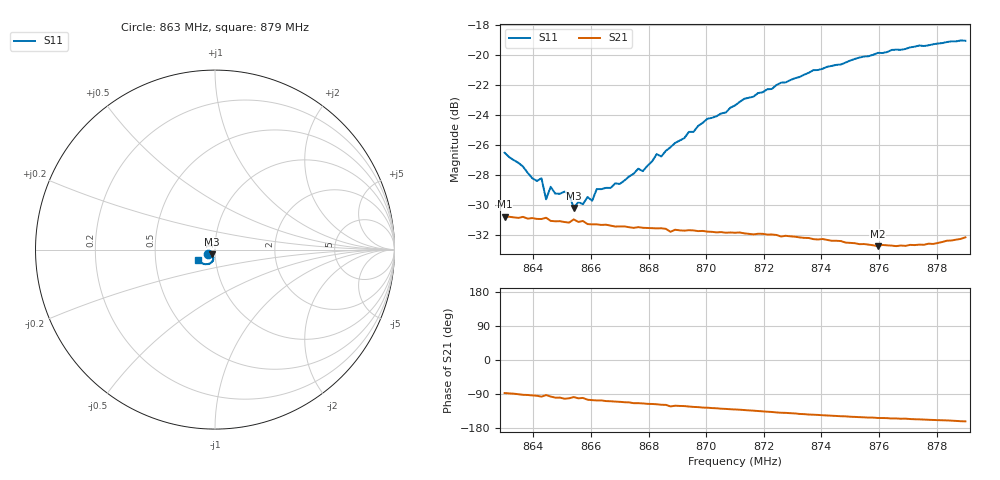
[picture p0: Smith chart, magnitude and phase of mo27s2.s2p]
# HZ S RI R 50
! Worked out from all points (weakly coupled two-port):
!   101 points, 863 MHz to 879 MHz, reference 50 ohm
!   highest |S21| = -30.78 dB at 863 MHz (marker M1); lowest = -32.8 dB at 875.96 MHz (marker M2)
!   lowest |S11| = -30.2 dB at 865.4 MHz (marker M3), VSWR 1.06, Z = 48.3 - j2.48 ohm
!   |S11| at or under -10 dB: start of sweep to end of sweep
!   S12 and S22 are empty: the file has one direction only
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8.63e8  -0.0417 -0.0222  0.00141 -0.0289  0 0  0 0
8.6396e8  -0.0318 -0.0223  -0.00178 -0.0285  0 0  0 0
8.6428e8  -0.0301 -0.0245  -0.00332 -0.0282  0 0  0 0
8.6444e8  -0.0252 -0.0213  -0.00128 -0.0286  0 0  0 0
8.646e8  -0.0283 -0.0229  -0.00313 -0.0278  0 0  0 0
8.6524e8  -0.0231 -0.0253  -0.00532 -0.0271  0 0  0 0
8.654e8  -0.0171 -0.0257  -0.00383 -0.028  0 0  0 0
8.6572e8  -0.0149 -0.0281  -0.0049 -0.0275  0 0  0 0
8.6588e8  -0.0193 -0.0275  -0.00697 -0.0264  0 0  0 0
8.6604e8  -0.0166 -0.0281  -0.00749 -0.0262  0 0  0 0
8.662e8  -0.0174 -0.0312  -0.00785 -0.0261  0 0  0 0
8.67e8  -0.0133 -0.0347  -0.00932 -0.0251  0 0  0 0
8.6764e8  -0.0121 -0.04  -0.0108 -0.0244  0 0  0 0
8.678e8  -0.0103 -0.0397  -0.011 -0.0241  0 0  0 0
8.6828e8  -0.00975 -0.0457  -0.0119 -0.0236  0 0  0 0
8.6844e8  -0.00826 -0.0451  -0.0124 -0.0233  0 0  0 0
8.7004e8  -0.012 -0.0601  -0.0151 -0.0209  0 0  0 0
8.71e8  -0.0154 -0.0662  -0.0166 -0.0194  0 0  0 0
8.7372e8  -0.0371 -0.081  -0.0197 -0.0142  0 0  0 0
8.7596e8  -0.0615 -0.0811  -0.0205 -0.0104  0 0  0 0
8.7644e8  -0.0682 -0.0786  -0.0208 -0.01  0 0  0 0
8.79e8  -0.094 -0.0602  -0.0234 -0.00766  0 0  0 0
